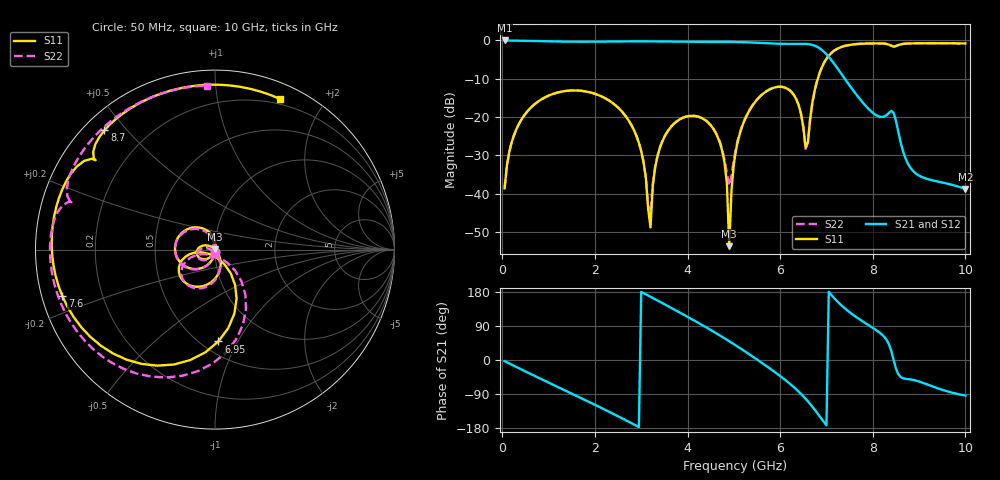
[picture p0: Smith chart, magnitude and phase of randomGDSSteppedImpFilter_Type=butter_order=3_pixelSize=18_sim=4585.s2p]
! freq	dB(S11)	phase(S11)	dB(S12)	phase(S12)
!  dB(S21)	phase(S21)	dB(S22)	phase(S22)
!S-par simulation data
#  GHz  S  DB  R 50
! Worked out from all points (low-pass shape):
!   200 points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, 50 MHz to 10 GHz, reference 50 ohm
!   highest |S21| = -0.01 dB at 50 MHz (marker M1); lowest = -38.7 dB at 10 GHz (marker M2)
!   |S21| within 3 dB of the highest: start of sweep to 6.951 GHz
!   lowest |S11| = -53.7 dB at 4.9 GHz (marker M3), VSWR 1.00, Z = 50 + j0.206 ohm
!   |S11| at or under -10 dB: start of sweep to 6.812 GHz
!   |S22| runs from -45.3 to -0.7 dB; largest |S21 - S12| = 0
!   S11 on the Smith chart (normalised r, x): 50 MHz: 1.00, -0.02; 6.95 GHz: 0.60, -0.84; 7.6 GHz: 0.06, -0.15; 8.7 GHz: 0.06, +0.43; 10 GHz: 0.15, +1.52
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0.05  -38.56 -92.5  -0.01 -3.1  -0.01 -3.1  -38.56 -92.4
0.5  -19.12 -120.9  -0.10 -30.1  -0.10 -30.1  -19.12 -120.1
1.75  -13.20 164.7  -0.34 -103.3  -0.34 -103.3  -13.20 167.8
2.85  -23.57 96.4  -0.23 -170.5  -0.23 -170.5  -23.59 104.5
3.05  -31.68 82.6  -0.23 176.7  -0.23 176.7  -31.70 97.2
3.2  -48.76 -79.5  -0.24 167.0  -0.24 167.0  -45.30 -149.1
3.25  -37.90 -106.0  -0.25 163.7  -0.25 163.7  -37.34 -120.0
3.4  -28.13 -118.0  -0.27 153.9  -0.27 153.9  -28.02 -118.4
4.55  -22.92 162.1  -0.38 75.7  -0.38 75.7  -22.83 175.4
4.8  -31.99 142.6  -0.38 57.3  -0.38 57.3  -31.16 175.1
4.9  -53.65 82.5  -0.39 49.7  -0.39 49.7  -37.84 -133.5
4.95  -38.96 -44.4  -0.39 45.8  -0.39 45.8  -35.18 -90.2
5.05  -28.33 -54.5  -0.41 38.0  -0.41 38.0  -27.74 -68.7
5.85  -12.39 -122.2  -0.81 -28.7  -0.81 -28.7  -12.35 -117.1
6.35  -15.36 -166.3  -0.87 -77.5  -0.87 -77.5  -15.37 -158.7
6.55  -27.95 -142.5  -0.89 -102.1  -0.89 -102.1  -28.25 -133.1
6.7  -15.94 -56.4  -1.18 -123.9  -1.18 -123.9  -15.84 -46.3
6.95  -5.81 -87.9  -2.99 -164.4  -2.99 -164.4  -5.75 -77.0
7.6  -1.02 -163.0  -13.39 117.0  -13.39 117.0  -0.98 -149.0
8.35  -1.10 145.9  -18.87 41.3  -18.87 41.3  -1.07 163.8
8.7  -0.86 132.9  -30.56 -49.5  -30.56 -49.5  -0.83 152.6
10  -0.78 66.5  -38.73 -93.9  -38.73 -93.9  -0.77 92.9
